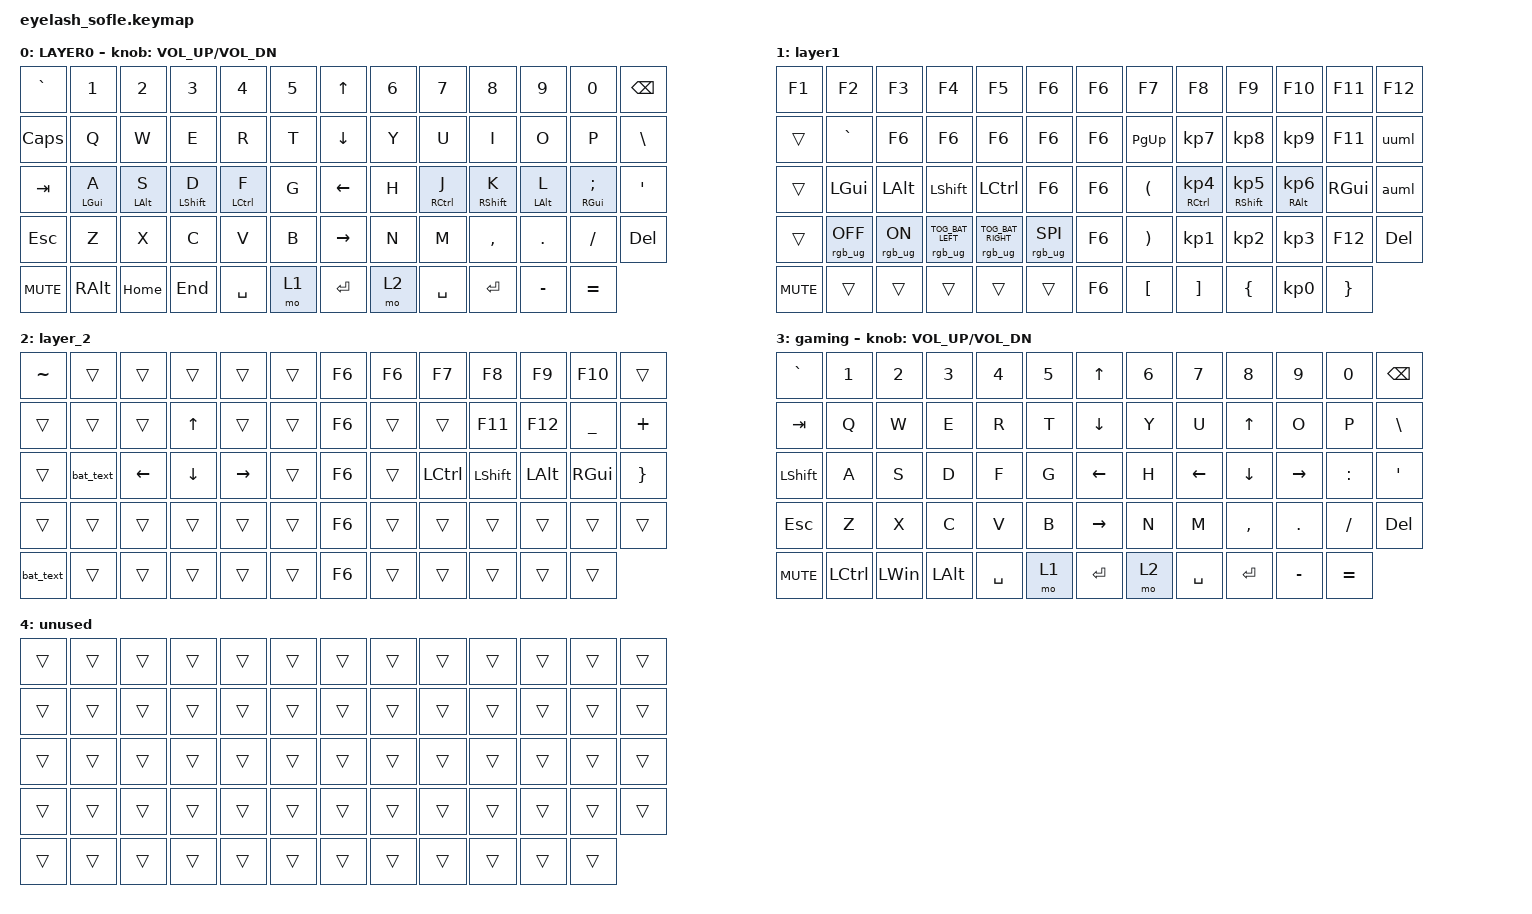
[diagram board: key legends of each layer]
#define ZMK_POINTING_DEFAULT_MOVE_VAL 1200  // 600
#define ZMK_POINTING_DEFAULT_SCRL_VAL 25   // 10

#include <input/processors.dtsi>
#include <zephyr/dt-bindings/input/input-event-codes.h>
#include <behaviors.dtsi>
#include <dt-bindings/zmk/keys.h>
#include <dt-bindings/zmk/rgb.h>

#define HM_TAPPING_TERM 300
#define HM_TAPPING_TERM_FAST 200
#define HM_PRIOR_IDLE 70
#define KEYS_L 0 1 2 3 4 5 13 14 15 16 17 18 26 27 28 29 30 31 39 40 41 42 43 44 52 53 54 55 56 57
#define KEYS_R 7 8 9 10 11 12 20 21 22 23 24 25 33 34 35 36 37 38 46 47 48 49 50 51 58 59 60 61 62 63 64 65 66 67 68 69 70 26
#define KEYS_COPY_PASTE_SAVE  28 40 41 42 43

&msc {
    acceleration-exponent = <1>;      // 0
    time-to-max-speed-ms = <100>;       // 300
    delay-ms = <0>;                   // 0
};

&mmv {
    time-to-max-speed-ms = <500>;
    acceleration-exponent = <1>;
    trigger-period-ms = <16>;
};

&mt {
    flavor = "balanced";              // Prefer taps for fast typing
};

/ {
    ouml: ouml {
        compatible = "zmk,behavior-mod-morph";
        label = "OUML";
        bindings = <&oumllower>, <&oumlupper>;

        #binding-cells = <0>;
        mods = <(MOD_LSFT)>;
    };

    auml: auml {
        compatible = "zmk,behavior-mod-morph";
        label = "AUML";
        bindings = <&aumllower>, <&aumlupper>;

        #binding-cells = <0>;
        mods = <(MOD_LSFT)>;
    };

    uuml: uuml {
        compatible = "zmk,behavior-mod-morph";
        label = "UUML";
        bindings = <&uumllower>, <&uumlupper>;

        #binding-cells = <0>;
        mods = <(MOD_LSFT)>;
    };

    behaviors {
        hm_l: homerow_mods_left {
            compatible = "zmk,behavior-hold-tap";
            #binding-cells = <2>;
            bindings = <&kp>, <&kp>;

            flavor = "balanced";
            tapping-term-ms = <HM_TAPPING_TERM>;
            quick-tap-ms = <175>;                // repeat on tap-into-hold
            require-prior-idle-ms = <HM_PRIOR_IDLE>;
            hold-trigger-key-positions = <KEYS_R>;
            hold-trigger-on-release;
        };

        hm_r: homerow_mods_right {
            compatible = "zmk,behavior-hold-tap";
            #binding-cells = <2>;
            bindings = <&kp>, <&kp>;

            flavor = "balanced";
            tapping-term-ms = <HM_TAPPING_TERM>;
            quick-tap-ms = <175>;
            require-prior-idle-ms = <HM_PRIOR_IDLE>;
            hold-trigger-key-positions = <KEYS_L>;
            hold-trigger-on-release;
        };

         hm_ctrl_l: hm_ctrl_l {
            compatible = "zmk,behavior-hold-tap";
            #binding-cells = <2>;
            bindings = <&kp>, <&kp>;

            flavor = "balanced";
            tapping-term-ms = <HM_TAPPING_TERM>;
            quick-tap-ms = <175>;                // repeat on tap-into-hold
            require-prior-idle-ms = <HM_PRIOR_IDLE>;
            hold-trigger-key-positions = <KEYS_R KEYS_COPY_PASTE_SAVE>;
            hold-trigger-on-release;
        };

        hm_shift_l: hm_shift_l {
            compatible = "zmk,behavior-hold-tap";
            #binding-cells = <2>;
            bindings = <&kp>, <&kp>;

            flavor = "balanced";
            tapping-term-ms = <HM_TAPPING_TERM_FAST>;
            quick-tap-ms = <175>;
            require-prior-idle-ms = <HM_PRIOR_IDLE>;
            hold-trigger-key-positions = <KEYS_R>;

            // hold-trigger-on-release;
        };

        hm_shift_r: hm_shift_r {
            compatible = "zmk,behavior-hold-tap";
            #binding-cells = <2>;
            bindings = <&kp>, <&kp>;

            flavor = "balanced";
            tapping-term-ms = <HM_TAPPING_TERM_FAST>;
            quick-tap-ms = <175>;
            require-prior-idle-ms = <HM_PRIOR_IDLE>;
            hold-trigger-key-positions = <KEYS_L>;

            // hold-trigger-on-release;
        };
    };

    macros {
        uumllower: uumllower {
            compatible = "zmk,behavior-macro";
            #binding-cells = <0>;
            bindings = <&kt LALT &kp KP_NUMBER_0 &kp KP_NUMBER_2 &kp KP_NUMBER_5 &kp KP_NUMBER_2 &kt LEFT_ALT>;
            label = "UUMLLOWER";
        };

        uumlupper: uumlupper {
            compatible = "zmk,behavior-macro";
            #binding-cells = <0>;
            bindings =
                <&macro_release>,
                <&kp LEFT_SHIFT &kp RIGHT_SHIFT &kt LALT &kp KP_NUMBER_0 &kp KP_NUMBER_2 &kp KP_NUMBER_2 &kp KP_NUMBER_0 &kt LEFT_ALT>;

            label = "UUMLUPPER";
        };

        aumllower: aumllower {
            compatible = "zmk,behavior-macro";
            #binding-cells = <0>;
            bindings = <&kt LALT &kp KP_NUMBER_0 &kp KP_NUMBER_2 &kp KP_NUMBER_2 &kp KP_NUMBER_8 &kt LEFT_ALT>;
            label = "AUMLLOWER";
        };

        aumlupper: aumlupper {
            compatible = "zmk,behavior-macro";
            #binding-cells = <0>;
            bindings =
                <&macro_release>,
                <&kp LEFT_SHIFT &kp RIGHT_SHIFT &kt LALT &kp KP_NUMBER_0 &kp KP_NUMBER_1 &kp KP_NUMBER_9 &kp KP_NUMBER_6 &kt LEFT_ALT>;

            label = "AUMLUPPER";
        };

        oumllower: oumllower {
            compatible = "zmk,behavior-macro";
            #binding-cells = <0>;
            bindings = <&kt LALT &kp KP_NUMBER_0 &kp KP_NUMBER_2 &kp KP_NUMBER_4 &kp KP_NUMBER_6 &kt LEFT_ALT>;
            label = "OUMLLOWER";
        };

        oumlupper: oumlupper {
            compatible = "zmk,behavior-macro";
            #binding-cells = <0>;
            bindings =
                <&macro_release>,
                <&kp LEFT_SHIFT &kp RIGHT_SHIFT &kt LALT &kp KP_NUMBER_0 &kp KP_NUMBER_2 &kp KP_NUMBER_1 &kp KP_NUMBER_4 &kt LEFT_ALT>;

            label = "OUMLUPPER";
        };

        eszett: eszett {
            compatible = "zmk,behavior-macro";
            #binding-cells = <0>;
            bindings = <&kt LALT &kp KP_NUMBER_2 &kp KP_NUMBER_2 &kp KP_NUMBER_5 &kt LEFT_ALT>;
            label = "ESZETT";
        };
    };

    combos {
        compatible = "zmk,combos";

        toggle_gaming {
            bindings = <&tog 3>;
            key-positions = <59 57>;
        };
    };

    keymap {
        compatible = "zmk,keymap";

        layer0 {
            bindings = <
&kp GRAVE     &kp NUMBER_1      &kp NUMBER_2      &kp N3                    &kp N4                &kp N5    &kp UP_ARROW     &kp NUMBER_6  &kp N7                 &kp N8                     &kp N9             &kp N0                &kp BACKSPACE
&kp CAPSLOCK  &kp Q             &kp W             &kp E                     &kp R                 &kp T     &kp DOWN_ARROW   &kp Y         &kp U                  &kp I                      &kp O              &kp P                 &kp BSLH
&kp TAB       &hm_l LEFT_GUI A  &hm_l LEFT_ALT S  &hm_shift_l LEFT_SHIFT D  &hm_ctrl_l LEFT_CONTROL F  &kp G     &kp LEFT_ARROW   &kp H         &hm_r RIGHT_CONTROL J  &hm_shift_r RIGHT_SHIFT K  &hm_r LEFT_ALT L  &hm_r RIGHT_GUI SEMI  &kp APOS
&kp ESCAPE    &kp Z             &kp X             &kp C                     &kp V                 &kp B     &kp RIGHT_ARROW  &kp N         &kp M                  &kp COMMA                  &kp DOT            &kp FSLH              &kp DELETE
&kp C_MUTE    &kp RIGHT_ALT     &kp HOME          &kp END                   &kp SPACE             &mo 1     &kp ENTER        &mo 2         &kp SPACE              &kp ENTER                  &kp MINUS          &kp EQUAL
            >;

            sensor-bindings = <&inc_dec_kp C_VOLUME_UP C_VOL_DN>;
            display-name = "LAYER0";
        };

        layer_1 {
            bindings = <
&kp F1      &kp F2           &kp F3          &kp F4                    &kp F5                     &kp F6             &kp F6  &kp F7                 &kp F8                           &kp F9                               &kp F10                      &kp F11          &kp F12
&trans      &kp GRAVE        &kp F6          &kp F6                    &kp F6                     &kp F6             &kp F6  &kp PG_UP              &kp KP_NUMBER_7                  &kp KP_NUMBER_8                      &kp KP_NUMBER_9              &kp F11          &uuml
&trans      &kp LEFT_GUI     &kp LEFT_ALT    &kp LEFT_SHIFT            &kp LEFT_CONTROL           &kp F6             &kp F6  &kp LEFT_PARENTHESIS   &hm_r RIGHT_CONTROL KP_NUMBER_4  &hm_shift_r RIGHT_SHIFT KP_NUMBER_5  &hm_r RIGHT_ALT KP_NUMBER_6  &kp RIGHT_GUI    &auml
&trans      &rgb_ug RGB_OFF  &rgb_ug RGB_ON  &rgb_ug RGB_TOG_BAT_LEFT  &rgb_ug RGB_TOG_BAT_RIGHT  &rgb_ug RGB_SPI    &kp F6  &kp RIGHT_PARENTHESIS  &kp KP_NUMBER_1                  &kp KP_NUMBER_2                      &kp KP_NUMBER_3              &kp F12          &kp DELETE
&kp C_MUTE  &trans           &trans          &trans                    &trans                     &trans             &kp F6  &kp LEFT_BRACKET       &kp RIGHT_BRACKET                &kp LEFT_BRACE                       &kp KP_NUMBER_0              &kp RIGHT_BRACE
            >;

            display-name = "layer1";
        };

        layer_2 {
            bindings = <
&kp TILDE  &trans     &trans          &trans          &trans           &trans    &kp F6  &kp F6  &kp F7            &kp F8          &kp F9        &kp F10    &trans
&trans     &trans     &trans          &kp UP_ARROW    &trans           &trans    &kp F6  &trans  &trans            &kp F11         &kp F12       &kp UNDER  &kp PLUS
&trans     &bat_text  &kp LEFT_ARROW  &kp DOWN_ARROW  &kp RIGHT_ARROW  &trans    &kp F6  &trans  &kp LEFT_CONTROL  &kp LEFT_SHIFT  &kp LEFT_ALT  &kp RGUI   &kp RBRC
&trans     &trans     &trans          &trans          &trans           &trans    &kp F6  &trans  &trans            &trans          &trans        &trans     &trans
&bat_text  &trans     &trans          &trans          &trans           &trans    &kp F6  &trans  &trans            &trans          &trans        &trans
            >;
        };

        layer_4 {
            display-name = "gaming";
            bindings = <
&kp GRAVE   &kp NUMBER_1      &kp NUMBER_2  &kp N3        &kp N4     &kp N5    &kp UP_ARROW     &kp NUMBER_6  &kp N7          &kp N8          &kp N9           &kp N0     &kp BACKSPACE
&kp TAB     &kp Q             &kp W         &kp E         &kp R      &kp T     &kp DOWN_ARROW   &kp Y         &kp U           &kp UP_ARROW    &kp O            &kp P      &kp BSLH
&kp LSHIFT  &kp A             &kp S         &kp D         &kp F      &kp G     &kp LEFT_ARROW   &kp H         &kp LEFT_ARROW  &kp DOWN_ARROW  &kp RIGHT_ARROW  &kp COLON  &kp APOS
&kp ESCAPE  &kp Z             &kp X         &kp C         &kp V      &kp B     &kp RIGHT_ARROW  &kp N         &kp M           &kp COMMA       &kp DOT          &kp FSLH   &kp DELETE
&kp C_MUTE  &kp LEFT_CONTROL  &kp LEFT_WIN  &kp LEFT_ALT  &kp SPACE  &mo 1     &kp ENTER        &mo 2         &kp SPACE       &kp ENTER       &kp MINUS        &kp EQUAL
            >;

            sensor-bindings = <&inc_dec_kp C_VOLUME_UP C_VOL_DN>;
        };

        unused {
            bindings = <
&trans  &trans  &trans  &trans  &trans  &trans    &trans  &trans  &trans  &trans  &trans  &trans  &trans
&trans  &trans  &trans  &trans  &trans  &trans    &trans  &trans  &trans  &trans  &trans  &trans  &trans
&trans  &trans  &trans  &trans  &trans  &trans    &trans  &trans  &trans  &trans  &trans  &trans  &trans
&trans  &trans  &trans  &trans  &trans  &trans    &trans  &trans  &trans  &trans  &trans  &trans  &trans
&trans  &trans  &trans  &trans  &trans  &trans    &trans  &trans  &trans  &trans  &trans  &trans
            >;
        };
    };
};
